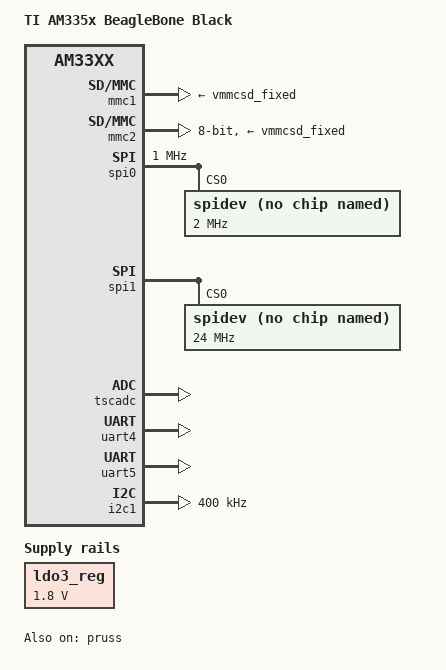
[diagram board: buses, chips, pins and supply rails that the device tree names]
/*
 * Copyright (C) 2012 Texas Instruments Incorporated - http://www.ti.com/
 *                    Modified by Mirko Denecke <mirkix@gmail.com>
 *
 * This program is free software; you can redistribute it and/or modify
 * it under the terms of the GNU General Public License version 2 as
 * published by the Free Software Foundation.
 */
/dts-v1/;

#include "am33xx.dtsi"
#include "am335x-bone-common.dtsi"
#include <dt-bindings/board/am335x-bbw-bbb-base.h>
#include <dt-bindings/pinctrl/am33xx.h>

/{
	model = "TI AM335x BeagleBone Black";
	compatible = "ti,am335x-bone-black", "ti,am335x-bone", "ti,am33xx";
};

&ldo3_reg {
	regulator-min-microvolt = <1800000>;
	regulator-max-microvolt = <1800000>;
	regulator-always-on;
};

&mmc1 {
	vmmc-supply = <&vmmcsd_fixed>;
};

&mmc2 {
	vmmc-supply = <&vmmcsd_fixed>;
	pinctrl-names = "default";
	pinctrl-0 = <&emmc_pins>;
	bus-width = <8>;
	status = "okay";
};

&am33xx_pinmux {

	pru_pins: pinmux_pru_pins {
		pinctrl-single,pins = <
			/*0x03c 0x35*/	/* ecap0_in_pwm0_out.pr1_ecap0_ecap_capin, MODE5 | INPUT_PULLUP | PRU, PPM-sum, SBUS, DSM  */
			/* 0x03c 0x2E	gpmc_ad15.pr1_pru0_pru_r31_15, MODE6 | INPUT | PRU, PPM-sum, SBUS, DSM, rcin_ch1 */

            /* rcin5678 */
            0x1ac 0x2E     /*mcasp0_ahclkr, pr1_pru0_pru_r31_7, P9_25, PULL_DOWN, add for rcin_ch5*/
            0x1a4 0x2E     /* mcasp0_fsr, pr1_pru0_pru_r31_5, P9_27, PULL_DOWN, add for rcin_ch6*/
            0x19c 0x2E     /*mcasp0_axr1, pr1_pru0_pru_r31_3, P9_27, PULL_DOWN, add for rcin_ch7*/
            0x1a0 0x2E      /*mcasp0_aclkr, pr1_pru0_pru_r31_4, P9_27, PULL_DOWN, add for rcin_ch8*/

            /*disable pwm8 combine*/
			/*0x164 0x0F   ecap0_in_pwm0_out, GPIO0_7, P9_42A */

			0x0e8 0x25	/* lcd_pclk.pr1_pru1_pru_r30_10, MODE5 | OUTPUT | PRU, CH_1 */
			0x0e0 0x25	/* lcd_vsync.pr1_pru1_pru_r30_8, MODE5 | OUTPUT | PRU, CH_2 */
			0x0ec 0x25	/* lcd_ac_bias_en.pr1_pru1_pru_r30_11, MODE5 | OUTPUT | PRU, CH_3 */
			0x0e4 0x25	/* lcd_hsync.pr1_pru1_pru_r30_9, MODE5 | OUTPUT | PRU, CH_4 */
			0x0bc 0x25	/* lcd_data7.pr1_pru1_pru_r30_7, MODE5 | OUTPUT | PRU, CH_5 */
			0x0b8 0x25	/* lcd_data6.pr1_pru1_pru_r30_6, MODE5 | OUTPUT | PRU, CH_6 */
			0x0b4 0x25	/* lcd_data5.pr1_pru1_pru_r30_5, MODE5 | OUTPUT | PRU, CH_7 */
			0x0b0 0x25	/* lcd_data4.pr1_pru1_pru_r30_4, MODE5 | OUTPUT | PRU, CH_8 */
            /*AB for SY crop controlling*/
			0x0a8 0x25	/* lcd_data2.pr1_pru1_pru_r31_2, MODE6 | INPUT | PRU, rcin_ch1 -> CH_10 */
			0x0ac 0x25	/* lcd_data3.pr1_pru1_pru_r31_3, MODE5 | INPUT | PRU, rcin_ch2 */

            /*AB for pwm extend*/
			0x0a0 0x25	/* lcd_data0.pr1_pru1_pru_r31_0, MODE6 | INPUT | PRU, rcin_ch3 */
			0x0a4 0x25	/* lcd_data1.pr1_pru1_pru_r31_1, MODE6 | INPUT | PRU, rcin_ch4 */

			/*BONE_P8_12 (PIN_OUTPUT_PULLDOWN | MUX_MODE6)*/ /* HC-SR04 TRIG */
			/*BONE_P8_16 (PIN_INPUT_PULLDOWN | MUX_MODE6)*/ /* HC-SR04 ECHO */

			/*BONE_P9_25 (PIN_INPUT_PULLDOWN | MUX_MODE6)*/ /* MPU9250 INT */
		>;
	};

    /*AB ZhaoYJ@2016-10-20 for i2c1 (HMC5883)*/
	i2c1_pins: pinmux_i2c1_pins {
		pinctrl-single,pins = <
			0x180 (PIN_INPUT_PULLUP | MUX_MODE3)	/* P9_26, i2c1_sda*/
			0x184 (PIN_INPUT_PULLUP | MUX_MODE3)	/* P9_24, i2c1_scl*/
		>;
	};

	spi0_pins: pinmux_spi0_pins {
		pinctrl-single,pins = <
                  0x150 0x30   /* spi0_sclk, SPI0_SCLK P9_22 */
                  0x154 0x18   /* spi0_d0, SPI0_MOSI  P9_21 */
                  0x158 0x38   /* spi0_d1, SPI0_MISO P9_18 */
                  /* 0x15C 0x10   spi0_cs0, P9_17 */
                  /* setup a dummy CS for the SPI driver to use, then
                     setup pin modes for the two real CS lines to
                     set them pull-up */
		>;
	};

	spi1_pins: pinmux_spi1_pins {
		pinctrl-single,pins = <
                0x190 0x33      /* mcasp0_aclkx.spi1_sclk, SPI1_SCLK P9_31 */
                0x194 0x13      /* mcasp0_fsx.spi1_d0, SPI1_MOSI P9_29 */
                0x198 0x33      /* mcasp0_axr0.spi1_d1, SPI1_MISO P9_30 */
                /* setup a dummy CS for the SPI driver to use, then
                   setup pin modes for the four real CS lines to
                   set them pull-up */
				0x044 0x37      /* P9_23 MPU9250 CS */
                /*start --- add by ZhaoYJ@2016-05-06*/
                /*start --- update dd by ZhaoYJ@2016-10-20*/
				0x030 0x37      /* MS5803 CS, P8_12 */
				0x028 0x37      /* ICM20689 CS, P8_14 */
				0x038 0x37      /* HMC5983 CS, P8_16 */
				0x08c 0x37      /* M8T CS, P8_18 */
                /*Control enable*/
                0x094 0x27      /* P8_8, add for VCC_3V3_EN*/
                0x09c 0x27      /* P8_9, add for VCC_3V3_SENSOR_EN */
                0x098 0x27      /* P8_10, add for VCC_3V3_GPS_EN*/
                0x078 0x27      /* P9_12, add for OUTPUT_EN */
                /*LEDs & ALARM*/
                0x07c 0x27     /* FLIGHT STATUS LED */
                0x0C8 0x27     /* lcd_data10, GPIO2_16, P8_36, PULL_DOWN, add for buzzer ALARM*/
                /*end --- add by ZhaoYJ@2016-05-06*/

		>;
	};

	uart4_pins: pinmux_uart4_pins {
		pinctrl-single,pins = <
			/* P9_11: gpmc_wait0.uart4_rxd_mux2 */
			BONE_P9_11 (PIN_INPUT_PULLUP | MUX_MODE6)
			/* P9_13: gpmc_wpn.uart4_txd_mux2  */
			BONE_P9_13 (PIN_OUTPUT_PULLDOWN | MUX_MODE6)
		>;
	};

	uart5_pins: pinmux_uart5_pins {
		pinctrl-single,pins = <
			/* P8_38: lcd_data9.uart5_rxd */
			BONE_P8_38 (PIN_INPUT_PULLUP | MUX_MODE4)
			/* P8_37: lcd_data8.uart5_txd */
			BONE_P8_37 (PIN_OUTPUT_PULLDOWN | MUX_MODE4)
		>;
	};
};


&spi0 {
        pinctrl-names = "default";
	    pinctrl-0 = <&spi0_pins>;
        ti,pindir-d0-out-d1-in = <1>;
        status = "okay";
        #address-cells = <1>;
        #size-cells = <0>;
        clock-frequency = <1000000>;
        spidev@0 {
                 spi-max-frequency = <2000000>;
                 reg = <0>;
                 compatible = "linux,spidev";
            };

        /* adis driver
        imu@0 {
                 #address-cells = <1>;
                 #size-cells = <0>;
                 compatible = "adi,adis16365";
                 reg = <0>;
                 spi-cpol;
                 spi-cpha;
                 spi-max-frequency = <2000000>;
            };
            */
};

&spi1 {
	pinctrl-names = "default";
	pinctrl-0 = <&spi1_pins>;
	status = "okay";
        ti,pindir-d0-out-d1-in = <1>;
        spidev@1 {
                 spi-max-frequency = <24000000>;
                 reg = <0>;
                 compatible = "linux,spidev";
            };
};

/* Definitions for ADC */

&tscadc {
        status = "okay";
};

&am335x_adc {
        ti,adc-channels = <0 1 2 3 4 5 6 7>;
};

&pruss {
	pinctrl-names = "default";
	pinctrl-0 = <&pru_pins>;
	status = "okay";
};

&uart4 {
	pinctrl-names = "default";
	pinctrl-0 = <&uart4_pins>;
	status = "okay";
};

&uart5 {
	pinctrl-names = "default";
	pinctrl-0 = <&uart5_pins>;
	status = "okay";
};

&i2c1 {
	pinctrl-names = "default";
	pinctrl-0 = <&i2c1_pins>;

	status = "okay";
	clock-frequency = <400000>;
};

